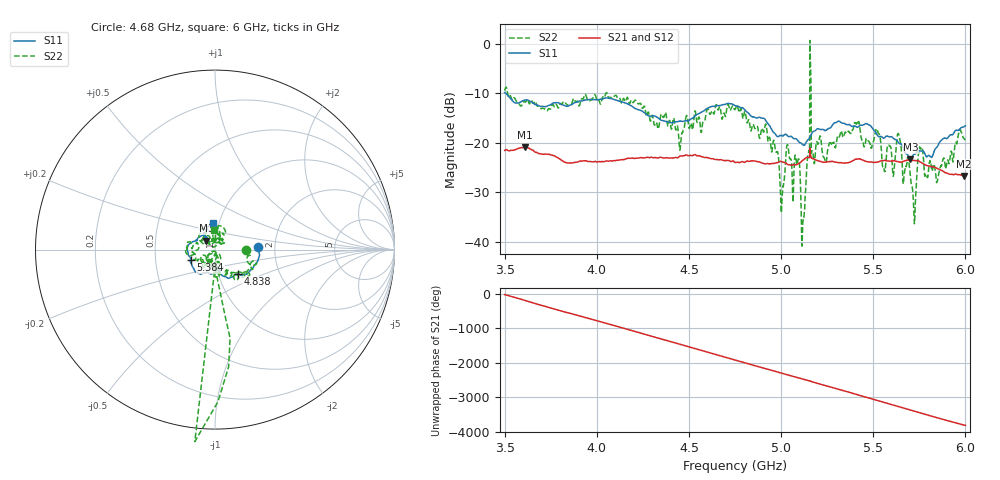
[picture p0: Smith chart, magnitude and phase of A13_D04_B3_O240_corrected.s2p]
! Created with skrf 1.9.0 (http://scikit-rf.org).
# Hz S RI R 50.0
!freq ReS11 ImS11 ReS21 ImS21 ReS12 ImS12 ReS22 ImS22
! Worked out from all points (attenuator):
!   1601 points, 3.5 GHz to 6 GHz, reference 50 ohm
!   highest |S21| = -20.92 dB at 3.609 GHz (marker M1); lowest = -26.7 dB at 5.994 GHz (marker M2)
!   lowest |S11| = -23.3 dB at 5.702 GHz (marker M3), VSWR 1.15, Z = 45.2 + j4.49 ohm
!   |S11| at or under -10 dB: 3.506 GHz to end of sweep
!   |S22| runs from -40.8 to 0.6 dB; largest |S21 - S12| = 0.0011
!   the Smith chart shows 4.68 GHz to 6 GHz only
!   S11 on the Smith chart (normalised r, x): 4.68 GHz: 1.63, +0.05; 4.838 GHz: 1.23, -0.35; 5.384 GHz: 0.76, -0.09; 6 GHz: 0.94, +0.29
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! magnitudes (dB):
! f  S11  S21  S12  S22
! 3.5 GHz  -9.9  -21.5  -21.5  -9.5
! 3.609 GHz  -11.4  -20.9  -20.9  -11.8
! 3.917 GHz  -11.6  -23.7  -23.6  -11.1
! 4.334 GHz  -15.0  -23.0  -23.0  -17.1
! 4.68 GHz  -12.3  -23.5  -23.4  -15.2
! 4.75 GHz  -12.5  -24.0  -23.9  -13.3
! 4.838 GHz  -14.6  -23.6  -23.6  -17.6
! 4.969 GHz  -18.2  -24.1  -24.0  -21.4
! 5.005 GHz  -18.5  -23.8  -23.8  -31.5
! 5.088 GHz  -19.4  -24.3  -24.3  -24.1
! 5.12 GHz  -20.5  -23.5  -23.4  -35.5
! 5.15 GHz  -19.2  -22.9  -22.9  -21.7
! 5.167 GHz  -18.0  -23.1  -23.0  -21.7
! 5.237 GHz  -17.5  -23.9  -23.8  -23.5
! 5.384 GHz  -16.6  -23.7  -23.6  -17.8
! 5.584 GHz  -18.8  -23.7  -23.6  -20.4
! 5.702 GHz  -23.3  -23.5  -23.5  -26.8
! 5.722 GHz  -22.3  -23.5  -23.5  -35.0
! 5.756 GHz  -21.6  -23.9  -23.8  -21.3
! 5.848 GHz  -20.7  -25.2  -25.1  -27.6
! 5.994 GHz  -16.7  -26.7  -26.6  -19.2
! 6 GHz  -16.6  -26.7  -26.6  -19.4
